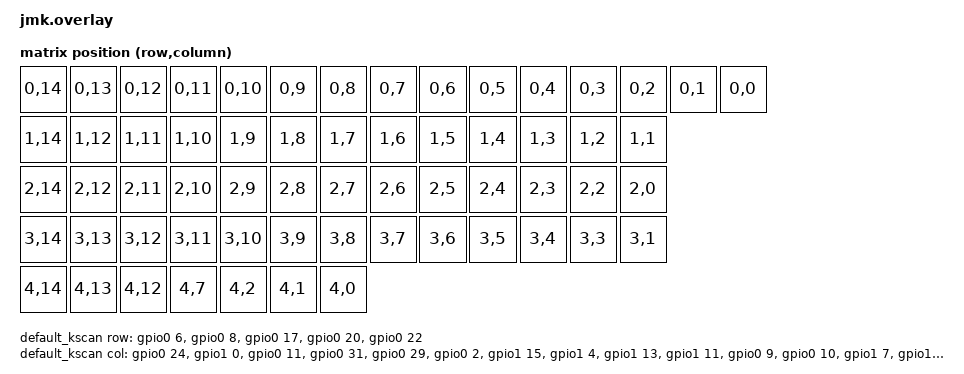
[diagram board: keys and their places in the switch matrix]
#include <dt-bindings/zmk/matrix_transform.h>

/ {
    chosen {
        zmk,kscan = &default_kscan;
        zmk,matrix_transform = &default_transform;
    };

    default_kscan: kscan {
        compatible = "zmk,kscan-gpio-matrix";
        label = "default_kscan";
        wakeup-source;

        diode-direction = "col2row";
        row-gpios
            = <&gpio0 6 (GPIO_ACTIVE_HIGH | GPIO_PULL_DOWN)>
            , <&gpio0 8 (GPIO_ACTIVE_HIGH | GPIO_PULL_DOWN)>
            , <&gpio0 17 (GPIO_ACTIVE_HIGH | GPIO_PULL_DOWN)>
            , <&gpio0 20 (GPIO_ACTIVE_HIGH | GPIO_PULL_DOWN)>
            , <&gpio0 22 (GPIO_ACTIVE_HIGH | GPIO_PULL_DOWN)>
            ;
        col-gpios
            = <&gpio0 24 GPIO_ACTIVE_HIGH>
            , <&gpio1 0 GPIO_ACTIVE_HIGH>
            , <&gpio0 11 GPIO_ACTIVE_HIGH>
            , <&gpio0 31 GPIO_ACTIVE_HIGH>
            , <&gpio0 29 GPIO_ACTIVE_HIGH>
            , <&gpio0 2 GPIO_ACTIVE_HIGH>
            , <&gpio1 15 GPIO_ACTIVE_HIGH>
            , <&gpio1 4 GPIO_ACTIVE_HIGH>
            //9-15
            , <&gpio1 13 GPIO_ACTIVE_HIGH>
            , <&gpio1 11 GPIO_ACTIVE_HIGH>
            , <&gpio0 9 GPIO_ACTIVE_HIGH>
            , <&gpio0 10 GPIO_ACTIVE_HIGH>
            , <&gpio1 7 GPIO_ACTIVE_HIGH>
            , <&gpio1 2 GPIO_ACTIVE_HIGH>
            , <&gpio1 1 GPIO_ACTIVE_HIGH>
            ;
    };




/ {
    default_transform: keymap_transform0 {
        compatible = "zmk,matrix-transform";
        columns = <15>; // Length of the "col-gpios" array
        rows = <5>; // Length of the "row-gpios" array
        map = <
        //   Key 1 | Key 2 | Key 3 | Key 4 | Key 5 | Key 6 | Key 7 | Key 8 | Key 9 | Key 10 | Key 11 | Key 12 | Key 13 | Key 14 | Key 15 
            RC(0,14) RC(0,13) RC(0,12) RC(0,11) RC(0,10) RC(0,9) RC(0,8) RC(0,7) RC(0,6) RC(0,5) RC(0,4) RC(0,3) RC(0,2) RC(0,1) RC(0,0)
        //   Key 1 | Key 2 | Key 3 | Key 4 | Key 5 | Key 6 | Key 7 | Key 8 | Key 9 | Key 10 | Key 11 | Key 12 | Key 13 
            RC(1,14) RC(1,12) RC(1,11) RC(1,10) RC(1,9) RC(1,8) RC(1,7) RC(1,6) RC(1,5) RC(1,4) RC(1,3) RC(1,2) RC(1,1)
        //   Key 1 | Key 2 | Key 3 | Key 4 | Key 5 | Key 6 | Key 7 | Key 8 | Key 9 | Key 10 | Key 11 | Key 12 | Key 13 
            RC(2,14) RC(2,12) RC(2,11) RC(2,10) RC(2,9) RC(2,8) RC(2,7) RC(2,6) RC(2,5) RC(2,4) RC(2,3) RC(2,2) RC(2,0)
        //   Key 1 | Key 2 | Key 3 | Key 4 | Key 5 | Key 6 | Key 7 | Key 8 | Key 9 | Key 10 | Key 11 | Key 12 | Key 13 
            RC(3,14) RC(3,13) RC(3,12) RC(3,11) RC(3,10) RC(3,9) RC(3,8) RC(3,7) RC(3,6) RC(3,5) RC(3,4) RC(3,3) RC(3,1)
        //   Key 1 | Key 2 | Key 3 | Key 4 | Key 5 | Key 6 | Key 7 
            RC(4,14) RC(4,13) RC(4,12) RC(4,7) RC(4,2) RC(4,1) RC(4,0)
        >;
    };
};
};

//&layout_60_ansi {
//    transform = <&default_transform>;
//};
